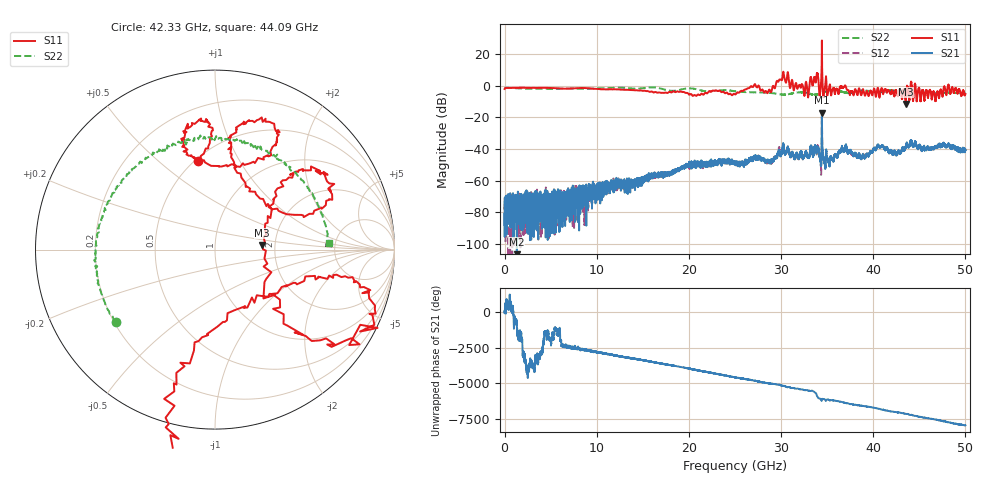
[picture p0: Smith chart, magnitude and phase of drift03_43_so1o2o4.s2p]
!Created with skrf (http://scikit-rf.org).
# Hz S RI R 50.0
!freq ReS11 ImS11 ReS21 ImS21 ReS12 ImS12 ReS22 ImS22
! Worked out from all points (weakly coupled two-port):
!   10000 points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, 5.3 MHz to 50 GHz, reference 50 ohm
!   highest |S21| = -17.14 dB at 34.43 GHz (marker M1); lowest = -108.2 dB at 1.33 GHz (marker M2)
!   lowest |S11| = -11.6 dB at 43.52 GHz (marker M3), VSWR 1.72, Z = 85.5 + j4.67 ohm
!   |S11| at or under -10 dB: 43.48973 GHz to 43.54298 GHz (53.25 MHz wide, 0.122 % of centre); 44.71 GHz to 44.71006 GHz (55.98 kHz wide, 0.000125 % of centre)
!   |S22| runs from -5.8 to -1.1 dB; largest |S21 - S12| = 0.038
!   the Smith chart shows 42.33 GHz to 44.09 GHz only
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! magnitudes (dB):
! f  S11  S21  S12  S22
! 5.3 MHz  -2.1  -71.3  -76.9  -1.3
! 1.33 GHz  -1.4  -108.2  -69.0  -1.7
! 6.515 GHz  -1.9  -73.6  -75.8  -1.9
! 8.34 GHz  -1.5  -72.7  -70.1  -2.1
! 16.67 GHz  -4.4  -56.1  -57.0  -1.5
! 20.17 GHz  -5.4  -50.0  -49.6  -1.7
! 25.01 GHz  -5.5  -48.8  -49.9  -3.5
! 27.02 GHz  -0.3  -45.9  -45.8  -4.3
! 28.72 GHz  -2.5  -48.8  -47.6  -4.5
! 30.14 GHz  4.4  -40.2  -40.6  -5.7
! 32.74 GHz  2.0  -42.5  -42.0  -4.6
! 33.34 GHz  2.6  -40.1  -40.4  -5.6
! 33.82 GHz  4.0  -41.7  -42.0  -5.7
! 34.43 GHz  28.6  -17.1  -18.7  -4.5
! 35.27 GHz  -0.1  -51.2  -48.5  -3.4
! 36.84 GHz  -0.7  -42.0  -41.3  -4.2
! 38.85 GHz  -2.8  -44.7  -44.2  -3.2
! 40.6 GHz  -4.2  -38.2  -38.4  -4.1
! 41.67 GHz  -3.0  -41.5  -42.5  -3.3
! 43.52 GHz  -11.6  -39.1  -38.7  -4.1
! 48.32 GHz  -4.4  -38.4  -38.4  -4.6
! 50 GHz  -5.2  -41.1  -40.6  -4.6
